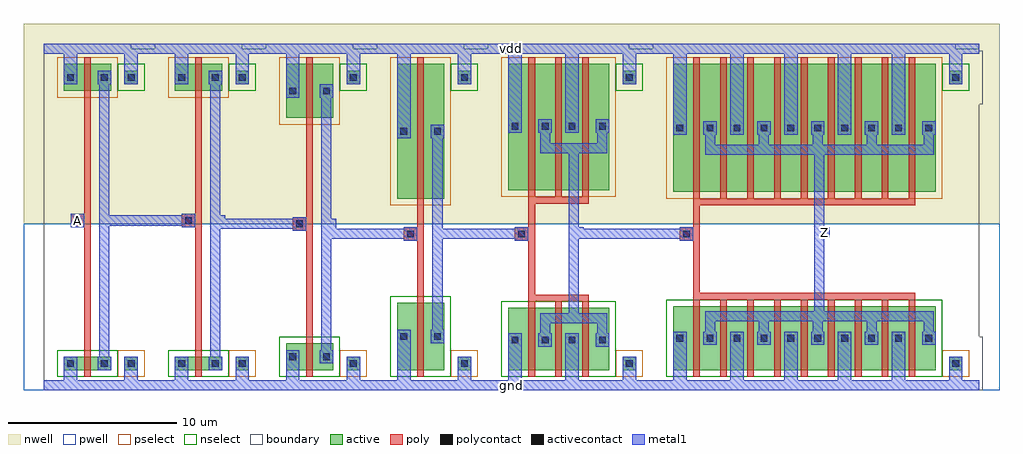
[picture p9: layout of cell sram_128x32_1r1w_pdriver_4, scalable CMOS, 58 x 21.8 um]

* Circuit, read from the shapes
.subckt sram_128x32_1r1w_pdriver_4 A Z gnd vdd
M1 sram_128x32_1r1w_pinv_6_1/A A gnd gnd nfet w=0.8u l=0.4u
M2 sram_128x32_1r1w_pinv_16_2/A sram_128x32_1r1w_pinv_6_1/A gnd gnd nfet w=0.8u l=0.4u
M3 sram_128x32_1r1w_pinv_17_3/A sram_128x32_1r1w_pinv_16_2/A gnd gnd nfet w=1.6u l=0.4u
M4 sram_128x32_1r1w_pinv_18_4/A sram_128x32_1r1w_pinv_17_3/A gnd gnd nfet w=4u l=0.4u
M5 sram_128x32_1r1w_pinv_19_5/A sram_128x32_1r1w_pinv_18_4/A gnd gnd nfet w=3.7u l=0.4u m=3
M6 Z sram_128x32_1r1w_pinv_19_5/A gnd gnd nfet w=3.8u l=0.4u m=9
M7 sram_128x32_1r1w_pinv_6_1/A A vdd vdd pfet w=1.6u l=0.4u
M8 sram_128x32_1r1w_pinv_16_2/A sram_128x32_1r1w_pinv_6_1/A vdd vdd pfet w=1.6u l=0.4u
M9 sram_128x32_1r1w_pinv_17_3/A sram_128x32_1r1w_pinv_16_2/A vdd vdd pfet w=3.2u l=0.4u
M10 sram_128x32_1r1w_pinv_18_4/A sram_128x32_1r1w_pinv_17_3/A vdd vdd pfet w=8u l=0.4u
M11 sram_128x32_1r1w_pinv_19_5/A sram_128x32_1r1w_pinv_18_4/A vdd vdd pfet w=7.5u l=0.4u m=3
M12 Z sram_128x32_1r1w_pinv_19_5/A vdd vdd pfet w=7.6u l=0.4u m=9
.ends

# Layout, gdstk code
import gdstk
lib = gdstk.Library(unit=1e-6, precision=1e-09)
def R(c, l, rs):  # rectangles x0, y0, x1, y1
    for r in rs: c.add(gdstk.rectangle(r[:2], r[2:], *l))
def A(c, l, x, y, w, h, nx, ny, dx, dy):  # array of equal rectangles
    R(c, l, [(x+i*dx, y+j*dy, x+i*dx+w, y+j*dy+h) for i in range(nx) for j in range(ny)])
pwell = (41, 0)
nwell = (42, 0)
active = (43, 0)
pselect = (44, 0)
nselect = (45, 0)
poly = (46, 0)
polycontact = (47, 0)
activecontact = (48, 0)
metal1 = (49, 0)
boundary = (63, 0)

sram_128x32_1r1w_contact = lib.new_cell('sram_128x32_1r1w_contact_11')
R(sram_128x32_1r1w_contact, nwell, [(-1.2,-1.2,2,2)])
R(sram_128x32_1r1w_contact, active, [(0,0,0.8,0.8)])
R(sram_128x32_1r1w_contact, pselect, [(-0.4,-0.4,1.2,1.2)])
R(sram_128x32_1r1w_contact, activecontact, [(0.2,0.2,0.6,0.6)])
R(sram_128x32_1r1w_contact, metal1, [(0,0,0.8,0.8)])
R(sram_128x32_1r1w_contact, boundary, [(-1.2,-1.2,2,2)])

sram_128x32_1r1w_pmos_m1 = lib.new_cell('sram_128x32_1r1w_pmos_m1_w1_600_sm1_dm1_da_p')
R(sram_128x32_1r1w_pmos_m1, nwell, [(-1.2,-1.2,4,2.8)])
R(sram_128x32_1r1w_pmos_m1, active, [(0,0,2.8,1.6)])
R(sram_128x32_1r1w_pmos_m1, pselect, [(-0.4,-0.4,3.2,2)])
R(sram_128x32_1r1w_pmos_m1, poly, [(1.2,-0.4,1.6,2), (1.2,-0.4,1.6,2)])
R(sram_128x32_1r1w_pmos_m1, metal1, [(0,0.4,0.8,1.2), (2,0.4,2.8,1.2)])
R(sram_128x32_1r1w_pmos_m1, boundary, [(-1.2,-1.2,4,2.8)])
sram_128x32_1r1w_pmos_m1.add(gdstk.Reference(sram_128x32_1r1w_contact, (0,0.4)))
sram_128x32_1r1w_pmos_m1.add(gdstk.Reference(sram_128x32_1r1w_contact, (2,0.4)))
sram_128x32_1r1w_pmos_m1.add(gdstk.Label('G', (1.4,0.8), layer=46, texttype=0))
sram_128x32_1r1w_pmos_m1.add(gdstk.Label('S', (0.4,0.8), layer=49, texttype=0))
sram_128x32_1r1w_pmos_m1.add(gdstk.Label('D', (2.4,0.8), layer=49, texttype=0))

c_sram_128x32_1r1w_contact = lib.new_cell('sram_128x32_1r1w_contact_10')
R(c_sram_128x32_1r1w_contact, pwell, [(-1.2,-1.2,2,2)])
R(c_sram_128x32_1r1w_contact, active, [(0,0,0.8,0.8)])
R(c_sram_128x32_1r1w_contact, nselect, [(-0.4,-0.4,1.2,1.2)])
R(c_sram_128x32_1r1w_contact, activecontact, [(0.2,0.2,0.6,0.6)])
R(c_sram_128x32_1r1w_contact, metal1, [(0,0,0.8,0.8)])
R(c_sram_128x32_1r1w_contact, boundary, [(-1.2,-1.2,2,2)])

sram_128x32_1r1w_nmos_m1 = lib.new_cell('sram_128x32_1r1w_nmos_m1_w0_800_sm1_dm1_da_p')
R(sram_128x32_1r1w_nmos_m1, pwell, [(-1.2,-1.2,4,2)])
R(sram_128x32_1r1w_nmos_m1, active, [(0,0,2.8,0.8)])
R(sram_128x32_1r1w_nmos_m1, nselect, [(-0.4,-0.4,3.2,1.2)])
R(sram_128x32_1r1w_nmos_m1, poly, [(1.2,-0.4,1.6,1.2), (1.2,-0.4,1.6,1.2)])
R(sram_128x32_1r1w_nmos_m1, metal1, [(0,0,0.8,0.8), (2,0,2.8,0.8)])
R(sram_128x32_1r1w_nmos_m1, boundary, [(-1.2,-1.2,4,2)])
sram_128x32_1r1w_nmos_m1.add(gdstk.Reference(c_sram_128x32_1r1w_contact, (0,0)))
sram_128x32_1r1w_nmos_m1.add(gdstk.Reference(c_sram_128x32_1r1w_contact, (2,0)))
sram_128x32_1r1w_nmos_m1.add(gdstk.Label('G', (1.4,0.4), layer=46, texttype=0))
sram_128x32_1r1w_nmos_m1.add(gdstk.Label('S', (0.4,0.4), layer=49, texttype=0))
sram_128x32_1r1w_nmos_m1.add(gdstk.Label('D', (2.4,0.4), layer=49, texttype=0))

c_sram_128x32_1r1w_contact_ = lib.new_cell('sram_128x32_1r1w_contact_12')
R(c_sram_128x32_1r1w_contact_, nwell, [(-1.2,-1.2,2,2)])
R(c_sram_128x32_1r1w_contact_, active, [(0,0,0.8,0.8)])
R(c_sram_128x32_1r1w_contact_, nselect, [(-0.4,-0.4,1.2,1.2)])
R(c_sram_128x32_1r1w_contact_, activecontact, [(0.2,0.2,0.6,0.6)])
R(c_sram_128x32_1r1w_contact_, metal1, [(0,0,0.8,0.8)])
R(c_sram_128x32_1r1w_contact_, boundary, [(-1.2,-1.2,2,2)])

c_sram_128x32_1r1w_contact__ = lib.new_cell('sram_128x32_1r1w_contact_13')
R(c_sram_128x32_1r1w_contact__, pwell, [(-1.2,-1.2,2,2)])
R(c_sram_128x32_1r1w_contact__, active, [(0,0,0.8,0.8)])
R(c_sram_128x32_1r1w_contact__, pselect, [(-0.4,-0.4,1.2,1.2)])
R(c_sram_128x32_1r1w_contact__, activecontact, [(0.2,0.2,0.6,0.6)])
R(c_sram_128x32_1r1w_contact__, metal1, [(0,0,0.8,0.8)])
R(c_sram_128x32_1r1w_contact__, boundary, [(-1.2,-1.2,2,2)])

c_sram_128x32_1r1w_contact___ = lib.new_cell('sram_128x32_1r1w_contact_14')
R(c_sram_128x32_1r1w_contact___, poly, [(0,0,0.8,0.8)])
R(c_sram_128x32_1r1w_contact___, polycontact, [(0.2,0.2,0.6,0.6)])
R(c_sram_128x32_1r1w_contact___, metal1, [(0,0,0.8,0.8)])
R(c_sram_128x32_1r1w_contact___, boundary, [(0,0,0.8,0.8)])

sram_128x32_1r1w_pinv_6 = lib.new_cell('sram_128x32_1r1w_pinv_6')
R(sram_128x32_1r1w_pinv_6, pwell, [(-1.2,-0.3,7.8,9.6)])
R(sram_128x32_1r1w_pinv_6, nwell, [(-1.2,9.6,7.8,21.5)])
R(sram_128x32_1r1w_pinv_6, poly, [(2.4,2.1,2.8,17.1), (2,9.4,2.4,10.2)])
R(sram_128x32_1r1w_pinv_6, metal1, [(0,-0.3,6.6,0.3), (1.2,-0.3,2,0.9), (4.8,0,5.6,1.3), (3.3,0.9,3.9,18.7), (1.6,9.4,2.4,10.2), (3.6,9.5,4.2,10.1), (1.2,17.9,2,20.3), (4.8,18.3,5.6,20), (0,19.7,6.6,20.3)])
R(sram_128x32_1r1w_pinv_6, boundary, [(0,0,6.6,20), (0,0,6.6,20)])
sram_128x32_1r1w_pinv_6.add(gdstk.Reference(sram_128x32_1r1w_pmos_m1, (1.2,17.5)))
sram_128x32_1r1w_pinv_6.add(gdstk.Reference(sram_128x32_1r1w_nmos_m1, (1.2,0.9)))
sram_128x32_1r1w_pinv_6.add(gdstk.Reference(c_sram_128x32_1r1w_contact_, (4.8,17.9)))
sram_128x32_1r1w_pinv_6.add(gdstk.Reference(c_sram_128x32_1r1w_contact__, (4.8,0.9)))
sram_128x32_1r1w_pinv_6.add(gdstk.Reference(c_sram_128x32_1r1w_contact___, (1.6,9.4)))
sram_128x32_1r1w_pinv_6.add(gdstk.Label('A', (2,9.8), layer=49, texttype=0))
sram_128x32_1r1w_pinv_6.add(gdstk.Label('Z', (3.9,9.8), layer=49, texttype=0))
sram_128x32_1r1w_pinv_6.add(gdstk.Label('gnd', (3.3,0), layer=49, texttype=0))
sram_128x32_1r1w_pinv_6.add(gdstk.Label('vdd', (3.3,20), layer=49, texttype=0))

c_sram_128x32_1r1w_pmos_m1 = lib.new_cell('sram_128x32_1r1w_pmos_m1_w3_200_sm1_dm1_da_p')
R(c_sram_128x32_1r1w_pmos_m1, nwell, [(-1.2,-1.2,4,4.4)])
R(c_sram_128x32_1r1w_pmos_m1, active, [(0,0,2.8,3.2)])
R(c_sram_128x32_1r1w_pmos_m1, pselect, [(-0.4,-0.4,3.2,3.6)])
R(c_sram_128x32_1r1w_pmos_m1, poly, [(1.2,-0.4,1.6,3.6), (1.2,-0.4,1.6,3.6)])
R(c_sram_128x32_1r1w_pmos_m1, metal1, [(0,1.2,0.8,2), (2,1.2,2.8,2)])
R(c_sram_128x32_1r1w_pmos_m1, boundary, [(-1.2,-1.2,4,4.4)])
c_sram_128x32_1r1w_pmos_m1.add(gdstk.Reference(sram_128x32_1r1w_contact, (0,1.2)))
c_sram_128x32_1r1w_pmos_m1.add(gdstk.Reference(sram_128x32_1r1w_contact, (2,1.2)))
c_sram_128x32_1r1w_pmos_m1.add(gdstk.Label('G', (1.4,1.6), layer=46, texttype=0))
c_sram_128x32_1r1w_pmos_m1.add(gdstk.Label('S', (0.4,1.6), layer=49, texttype=0))
c_sram_128x32_1r1w_pmos_m1.add(gdstk.Label('D', (2.4,1.6), layer=49, texttype=0))

c_sram_128x32_1r1w_nmos_m1 = lib.new_cell('sram_128x32_1r1w_nmos_m1_w1_600_sm1_dm1_da_p')
R(c_sram_128x32_1r1w_nmos_m1, pwell, [(-1.2,-1.2,4,2.8)])
R(c_sram_128x32_1r1w_nmos_m1, active, [(0,0,2.8,1.6)])
R(c_sram_128x32_1r1w_nmos_m1, nselect, [(-0.4,-0.4,3.2,2)])
R(c_sram_128x32_1r1w_nmos_m1, poly, [(1.2,-0.4,1.6,2), (1.2,-0.4,1.6,2)])
R(c_sram_128x32_1r1w_nmos_m1, metal1, [(0,0.4,0.8,1.2), (2,0.4,2.8,1.2)])
R(c_sram_128x32_1r1w_nmos_m1, boundary, [(-1.2,-1.2,4,2.8)])
c_sram_128x32_1r1w_nmos_m1.add(gdstk.Reference(c_sram_128x32_1r1w_contact, (0,0.4)))
c_sram_128x32_1r1w_nmos_m1.add(gdstk.Reference(c_sram_128x32_1r1w_contact, (2,0.4)))
c_sram_128x32_1r1w_nmos_m1.add(gdstk.Label('G', (1.4,0.8), layer=46, texttype=0))
c_sram_128x32_1r1w_nmos_m1.add(gdstk.Label('S', (0.4,0.8), layer=49, texttype=0))
c_sram_128x32_1r1w_nmos_m1.add(gdstk.Label('D', (2.4,0.8), layer=49, texttype=0))

sram_128x32_1r1w_pinv_16 = lib.new_cell('sram_128x32_1r1w_pinv_16')
R(sram_128x32_1r1w_pinv_16, pwell, [(-1.2,-0.3,7.8,9.6)])
R(sram_128x32_1r1w_pinv_16, nwell, [(-1.2,9.6,7.8,21.5)])
R(sram_128x32_1r1w_pinv_16, poly, [(2.4,2.9,2.8,15.5), (2,9.2,2.4,10)])
R(sram_128x32_1r1w_pinv_16, metal1, [(0,-0.3,6.6,0.3), (1.2,-0.3,2,1.3), (4.8,0,5.6,1.3), (3.3,1.3,3.9,17.9), (1.6,9.2,2.4,10), (3.6,9.3,4.2,9.9), (1.2,17.1,2,20.3), (4.8,18.3,5.6,20), (0,19.7,6.6,20.3)])
R(sram_128x32_1r1w_pinv_16, boundary, [(0,0,6.6,20), (0,0,6.6,20)])
sram_128x32_1r1w_pinv_16.add(gdstk.Reference(c_sram_128x32_1r1w_pmos_m1, (1.2,15.9)))
sram_128x32_1r1w_pinv_16.add(gdstk.Reference(c_sram_128x32_1r1w_nmos_m1, (1.2,0.9)))
sram_128x32_1r1w_pinv_16.add(gdstk.Reference(c_sram_128x32_1r1w_contact_, (4.8,17.9)))
sram_128x32_1r1w_pinv_16.add(gdstk.Reference(c_sram_128x32_1r1w_contact__, (4.8,0.9)))
sram_128x32_1r1w_pinv_16.add(gdstk.Reference(c_sram_128x32_1r1w_contact___, (1.6,9.2)))
sram_128x32_1r1w_pinv_16.add(gdstk.Label('A', (2,9.6), layer=49, texttype=0))
sram_128x32_1r1w_pinv_16.add(gdstk.Label('Z', (3.9,9.6), layer=49, texttype=0))
sram_128x32_1r1w_pinv_16.add(gdstk.Label('gnd', (3.3,0), layer=49, texttype=0))
sram_128x32_1r1w_pinv_16.add(gdstk.Label('vdd', (3.3,20), layer=49, texttype=0))

c_sram_128x32_1r1w_pmos_m1_ = lib.new_cell('sram_128x32_1r1w_pmos_m1_w8_000_sm1_dm1_da_p')
R(c_sram_128x32_1r1w_pmos_m1_, nwell, [(-1.2,-1.2,4,9.2)])
R(c_sram_128x32_1r1w_pmos_m1_, active, [(0,0,2.8,8)])
R(c_sram_128x32_1r1w_pmos_m1_, pselect, [(-0.4,-0.4,3.2,8.4)])
R(c_sram_128x32_1r1w_pmos_m1_, poly, [(1.2,-0.4,1.6,8.4), (1.2,-0.4,1.6,8.4)])
R(c_sram_128x32_1r1w_pmos_m1_, metal1, [(0,3.6,0.8,4.4), (2,3.6,2.8,4.4)])
R(c_sram_128x32_1r1w_pmos_m1_, boundary, [(-1.2,-1.2,4,9.2)])
c_sram_128x32_1r1w_pmos_m1_.add(gdstk.Reference(sram_128x32_1r1w_contact, (0,3.6)))
c_sram_128x32_1r1w_pmos_m1_.add(gdstk.Reference(sram_128x32_1r1w_contact, (2,3.6)))
c_sram_128x32_1r1w_pmos_m1_.add(gdstk.Label('G', (1.4,4), layer=46, texttype=0))
c_sram_128x32_1r1w_pmos_m1_.add(gdstk.Label('S', (0.4,4), layer=49, texttype=0))
c_sram_128x32_1r1w_pmos_m1_.add(gdstk.Label('D', (2.4,4), layer=49, texttype=0))

c_sram_128x32_1r1w_nmos_m1_ = lib.new_cell('sram_128x32_1r1w_nmos_m1_w4_000_sm1_dm1_da_p')
R(c_sram_128x32_1r1w_nmos_m1_, pwell, [(-1.2,-1.2,4,5.2)])
R(c_sram_128x32_1r1w_nmos_m1_, active, [(0,0,2.8,4)])
R(c_sram_128x32_1r1w_nmos_m1_, nselect, [(-0.4,-0.4,3.2,4.4)])
R(c_sram_128x32_1r1w_nmos_m1_, poly, [(1.2,-0.4,1.6,4.4), (1.2,-0.4,1.6,4.4)])
R(c_sram_128x32_1r1w_nmos_m1_, metal1, [(0,1.6,0.8,2.4), (2,1.6,2.8,2.4)])
R(c_sram_128x32_1r1w_nmos_m1_, boundary, [(-1.2,-1.2,4,5.2)])
c_sram_128x32_1r1w_nmos_m1_.add(gdstk.Reference(c_sram_128x32_1r1w_contact, (0,1.6)))
c_sram_128x32_1r1w_nmos_m1_.add(gdstk.Reference(c_sram_128x32_1r1w_contact, (2,1.6)))
c_sram_128x32_1r1w_nmos_m1_.add(gdstk.Label('G', (1.4,2), layer=46, texttype=0))
c_sram_128x32_1r1w_nmos_m1_.add(gdstk.Label('S', (0.4,2), layer=49, texttype=0))
c_sram_128x32_1r1w_nmos_m1_.add(gdstk.Label('D', (2.4,2), layer=49, texttype=0))

sram_128x32_1r1w_pinv_17 = lib.new_cell('sram_128x32_1r1w_pinv_17')
R(sram_128x32_1r1w_pinv_17, pwell, [(-1.2,-0.3,7.8,9.6)])
R(sram_128x32_1r1w_pinv_17, nwell, [(-1.2,9.6,7.8,21.5)])
R(sram_128x32_1r1w_pinv_17, poly, [(2.4,5.3,2.8,10.7), (2,8.6,2.4,9.4)])
R(sram_128x32_1r1w_pinv_17, metal1, [(0,-0.3,6.6,0.3), (1.2,-0.3,2,2.5), (4.8,0,5.6,1.3), (3.3,2.5,3.9,15.5), (1.6,8.6,2.4,9.4), (3.6,8.7,4.2,9.3), (1.2,14.7,2,20.3), (4.8,18.3,5.6,20), (0,19.7,6.6,20.3)])
R(sram_128x32_1r1w_pinv_17, boundary, [(0,0,6.6,20), (0,0,6.6,20)])
sram_128x32_1r1w_pinv_17.add(gdstk.Reference(c_sram_128x32_1r1w_pmos_m1_, (1.2,11.1)))
sram_128x32_1r1w_pinv_17.add(gdstk.Reference(c_sram_128x32_1r1w_nmos_m1_, (1.2,0.9)))
sram_128x32_1r1w_pinv_17.add(gdstk.Reference(c_sram_128x32_1r1w_contact_, (4.8,17.9)))
sram_128x32_1r1w_pinv_17.add(gdstk.Reference(c_sram_128x32_1r1w_contact__, (4.8,0.9)))
sram_128x32_1r1w_pinv_17.add(gdstk.Reference(c_sram_128x32_1r1w_contact___, (1.6,8.6)))
sram_128x32_1r1w_pinv_17.add(gdstk.Label('A', (2,9), layer=49, texttype=0))
sram_128x32_1r1w_pinv_17.add(gdstk.Label('Z', (3.9,9), layer=49, texttype=0))
sram_128x32_1r1w_pinv_17.add(gdstk.Label('gnd', (3.3,0), layer=49, texttype=0))
sram_128x32_1r1w_pinv_17.add(gdstk.Label('vdd', (3.3,20), layer=49, texttype=0))

sram_128x32_1r1w_pmos_m3 = lib.new_cell('sram_128x32_1r1w_pmos_m3_w7_500_sm1_dm1_da_p')
R(sram_128x32_1r1w_pmos_m3, nwell, [(-1.2,-1.2,7.2,8.7)])
R(sram_128x32_1r1w_pmos_m3, active, [(0,0,6,7.5)])
R(sram_128x32_1r1w_pmos_m3, pselect, [(-0.4,-0.4,6.4,7.9)])
A(sram_128x32_1r1w_pmos_m3, poly, 1.2, -0.4, 0.4, 8.3, 3, 1, 1.6, 0)
R(sram_128x32_1r1w_pmos_m3, poly, [(1.2,-0.8,4.8,-0.4)])
R(sram_128x32_1r1w_pmos_m3, metal1, [(1.9,2.2,5.9,2.8), (1.9,2.4,2.5,3.8), (5.3,2.4,5.9,3.8), (0,3.4,0.8,4.2), (3.4,3.4,4.2,4.2)])
R(sram_128x32_1r1w_pmos_m3, boundary, [(-1.2,-1.2,7.2,8.7)])
sram_128x32_1r1w_pmos_m3.add(gdstk.Reference(sram_128x32_1r1w_contact, (0,3.4)))
sram_128x32_1r1w_pmos_m3.add(gdstk.Reference(sram_128x32_1r1w_contact, (1.8,3.4)))
sram_128x32_1r1w_pmos_m3.add(gdstk.Reference(sram_128x32_1r1w_contact, (3.4,3.4)))
sram_128x32_1r1w_pmos_m3.add(gdstk.Reference(sram_128x32_1r1w_contact, (5.2,3.4)))
sram_128x32_1r1w_pmos_m3.add(gdstk.Label('G', (3,-0.6), layer=46, texttype=0))
sram_128x32_1r1w_pmos_m3.add(gdstk.Label('S', (0.4,3.8), layer=49, texttype=0))
sram_128x32_1r1w_pmos_m3.add(gdstk.Label('S', (3.8,3.8), layer=49, texttype=0))
sram_128x32_1r1w_pmos_m3.add(gdstk.Label('D', (3.9,2.5), layer=49, texttype=0))

sram_128x32_1r1w_nmos_m3 = lib.new_cell('sram_128x32_1r1w_nmos_m3_w3_700_sm1_dm1_da_p')
R(sram_128x32_1r1w_nmos_m3, pwell, [(-1.2,-1.2,7.2,4.9)])
R(sram_128x32_1r1w_nmos_m3, active, [(0,0,6,3.7)])
R(sram_128x32_1r1w_nmos_m3, nselect, [(-0.4,-0.4,6.4,4.1)])
A(sram_128x32_1r1w_nmos_m3, poly, 1.2, -0.4, 0.4, 4.5, 3, 1, 1.6, 0)
R(sram_128x32_1r1w_nmos_m3, poly, [(1.2,4.1,4.8,4.5)])
R(sram_128x32_1r1w_nmos_m3, metal1, [(0,1.4,0.8,2.2), (3.4,1.4,4.2,2.2), (1.9,1.8,2.5,3.2), (5.3,1.8,5.9,3.2), (1.9,2.8,5.9,3.4)])
R(sram_128x32_1r1w_nmos_m3, boundary, [(-1.2,-1.2,7.2,4.9)])
sram_128x32_1r1w_nmos_m3.add(gdstk.Reference(c_sram_128x32_1r1w_contact, (0,1.4)))
sram_128x32_1r1w_nmos_m3.add(gdstk.Reference(c_sram_128x32_1r1w_contact, (1.8,1.4)))
sram_128x32_1r1w_nmos_m3.add(gdstk.Reference(c_sram_128x32_1r1w_contact, (3.4,1.4)))
sram_128x32_1r1w_nmos_m3.add(gdstk.Reference(c_sram_128x32_1r1w_contact, (5.2,1.4)))
sram_128x32_1r1w_nmos_m3.add(gdstk.Label('G', (3,4.3), layer=46, texttype=0))
sram_128x32_1r1w_nmos_m3.add(gdstk.Label('S', (3.8,1.8), layer=49, texttype=0))
sram_128x32_1r1w_nmos_m3.add(gdstk.Label('S', (0.4,1.8), layer=49, texttype=0))
sram_128x32_1r1w_nmos_m3.add(gdstk.Label('D', (3.9,3.1), layer=49, texttype=0))

sram_128x32_1r1w_pinv_18 = lib.new_cell('sram_128x32_1r1w_pinv_18')
R(sram_128x32_1r1w_pinv_18, pwell, [(-1.2,-0.3,11,9.6)])
R(sram_128x32_1r1w_pinv_18, nwell, [(-1.2,9.6,11,21.5)])
R(sram_128x32_1r1w_pinv_18, poly, [(2.4,5.4,2.8,10.8), (2,8.6,2.4,9.4)])
R(sram_128x32_1r1w_pinv_18, metal1, [(0,-0.3,9.8,0.3), (1.2,-0.3,2,2.3), (4.6,-0.3,5.4,2.3), (8,0,8.8,1.3), (4.8,3.7,5.4,14.4), (1.6,8.6,2.4,9.4), (5.1,8.8,5.7,9.4), (1.2,15,2,20.3), (4.6,15,5.4,20.3), (8,18.3,8.8,20), (0,19.7,9.8,20.3)])
R(sram_128x32_1r1w_pinv_18, boundary, [(0,0,9.8,20), (0,0,9.8,20)])
sram_128x32_1r1w_pinv_18.add(gdstk.Reference(sram_128x32_1r1w_pmos_m3, (1.2,11.6)))
sram_128x32_1r1w_pinv_18.add(gdstk.Reference(sram_128x32_1r1w_nmos_m3, (1.2,0.9)))
sram_128x32_1r1w_pinv_18.add(gdstk.Reference(c_sram_128x32_1r1w_contact_, (8,17.9)))
sram_128x32_1r1w_pinv_18.add(gdstk.Reference(c_sram_128x32_1r1w_contact__, (8,0.9)))
sram_128x32_1r1w_pinv_18.add(gdstk.Reference(c_sram_128x32_1r1w_contact___, (1.6,8.6)))
sram_128x32_1r1w_pinv_18.add(gdstk.Label('A', (2,9), layer=49, texttype=0))
sram_128x32_1r1w_pinv_18.add(gdstk.Label('Z', (5.4,9.1), layer=49, texttype=0))
sram_128x32_1r1w_pinv_18.add(gdstk.Label('gnd', (4.9,0), layer=49, texttype=0))
sram_128x32_1r1w_pinv_18.add(gdstk.Label('vdd', (4.9,20), layer=49, texttype=0))

sram_128x32_1r1w_pmos_m9 = lib.new_cell('sram_128x32_1r1w_pmos_m9_w7_600_sm1_dm1_da_p')
R(sram_128x32_1r1w_pmos_m9, nwell, [(-1.2,-1.2,16.8,8.8)])
R(sram_128x32_1r1w_pmos_m9, active, [(0,0,15.6,7.6)])
R(sram_128x32_1r1w_pmos_m9, pselect, [(-0.4,-0.4,16,8)])
A(sram_128x32_1r1w_pmos_m9, poly, 1.2, -0.4, 0.4, 8.4, 9, 1, 1.6, 0)
R(sram_128x32_1r1w_pmos_m9, poly, [(1.2,-0.8,14.4,-0.4)])
A(sram_128x32_1r1w_pmos_m9, metal1, 1.9, 2.5, 0.6, 1.3, 4, 1, 3.2, 0)
A(sram_128x32_1r1w_pmos_m9, metal1, 3.4, 3.4, 0.8, 0.8, 4, 1, 3.2, 0)
R(sram_128x32_1r1w_pmos_m9, metal1, [(1.9,2.2,15.5,2.8), (14.9,2.5,15.5,3.8), (0,3.4,0.8,4.2)])
R(sram_128x32_1r1w_pmos_m9, boundary, [(-1.2,-1.2,16.8,8.8)])
sram_128x32_1r1w_pmos_m9.add(gdstk.Reference(sram_128x32_1r1w_contact, (0,3.4)))
sram_128x32_1r1w_pmos_m9.add(gdstk.Reference(sram_128x32_1r1w_contact, (1.8,3.4)))
sram_128x32_1r1w_pmos_m9.add(gdstk.Reference(sram_128x32_1r1w_contact, (3.4,3.4)))
sram_128x32_1r1w_pmos_m9.add(gdstk.Reference(sram_128x32_1r1w_contact, (5,3.4)))
sram_128x32_1r1w_pmos_m9.add(gdstk.Reference(sram_128x32_1r1w_contact, (6.6,3.4)))
sram_128x32_1r1w_pmos_m9.add(gdstk.Reference(sram_128x32_1r1w_contact, (8.2,3.4)))
sram_128x32_1r1w_pmos_m9.add(gdstk.Reference(sram_128x32_1r1w_contact, (9.8,3.4)))
sram_128x32_1r1w_pmos_m9.add(gdstk.Reference(sram_128x32_1r1w_contact, (11.4,3.4)))
sram_128x32_1r1w_pmos_m9.add(gdstk.Reference(sram_128x32_1r1w_contact, (13,3.4)))
sram_128x32_1r1w_pmos_m9.add(gdstk.Reference(sram_128x32_1r1w_contact, (14.8,3.4)))
sram_128x32_1r1w_pmos_m9.add(gdstk.Label('G', (7.8,-0.6), layer=46, texttype=0))
sram_128x32_1r1w_pmos_m9.add(gdstk.Label('S', (0.4,3.8), layer=49, texttype=0))
sram_128x32_1r1w_pmos_m9.add(gdstk.Label('S', (3.8,3.8), layer=49, texttype=0))
sram_128x32_1r1w_pmos_m9.add(gdstk.Label('S', (10.2,3.8), layer=49, texttype=0))
sram_128x32_1r1w_pmos_m9.add(gdstk.Label('S', (13.4,3.8), layer=49, texttype=0))
sram_128x32_1r1w_pmos_m9.add(gdstk.Label('S', (7,3.8), layer=49, texttype=0))
sram_128x32_1r1w_pmos_m9.add(gdstk.Label('D', (8.7,2.5), layer=49, texttype=0))

sram_128x32_1r1w_nmos_m9 = lib.new_cell('sram_128x32_1r1w_nmos_m9_w3_800_sm1_dm1_da_p')
R(sram_128x32_1r1w_nmos_m9, pwell, [(-1.2,-1.2,16.8,5)])
R(sram_128x32_1r1w_nmos_m9, active, [(0,0,15.6,3.8)])
R(sram_128x32_1r1w_nmos_m9, nselect, [(-0.4,-0.4,16,4.2)])
A(sram_128x32_1r1w_nmos_m9, poly, 1.2, -0.4, 0.4, 4.6, 9, 1, 1.6, 0)
R(sram_128x32_1r1w_nmos_m9, poly, [(1.2,4.2,14.4,4.6)])
A(sram_128x32_1r1w_nmos_m9, metal1, 3.4, 1.5, 0.8, 0.8, 4, 1, 3.2, 0)
A(sram_128x32_1r1w_nmos_m9, metal1, 1.9, 1.9, 0.6, 1.3, 4, 1, 3.2, 0)
R(sram_128x32_1r1w_nmos_m9, metal1, [(0,1.5,0.8,2.3), (14.9,1.9,15.5,3.2), (1.9,2.9,15.5,3.5)])
R(sram_128x32_1r1w_nmos_m9, boundary, [(-1.2,-1.2,16.8,5)])
sram_128x32_1r1w_nmos_m9.add(gdstk.Reference(c_sram_128x32_1r1w_contact, (0,1.5)))
sram_128x32_1r1w_nmos_m9.add(gdstk.Reference(c_sram_128x32_1r1w_contact, (1.8,1.5)))
sram_128x32_1r1w_nmos_m9.add(gdstk.Reference(c_sram_128x32_1r1w_contact, (3.4,1.5)))
sram_128x32_1r1w_nmos_m9.add(gdstk.Reference(c_sram_128x32_1r1w_contact, (5,1.5)))
sram_128x32_1r1w_nmos_m9.add(gdstk.Reference(c_sram_128x32_1r1w_contact, (6.6,1.5)))
sram_128x32_1r1w_nmos_m9.add(gdstk.Reference(c_sram_128x32_1r1w_contact, (8.2,1.5)))
sram_128x32_1r1w_nmos_m9.add(gdstk.Reference(c_sram_128x32_1r1w_contact, (9.8,1.5)))
sram_128x32_1r1w_nmos_m9.add(gdstk.Reference(c_sram_128x32_1r1w_contact, (11.4,1.5)))
sram_128x32_1r1w_nmos_m9.add(gdstk.Reference(c_sram_128x32_1r1w_contact, (13,1.5)))
sram_128x32_1r1w_nmos_m9.add(gdstk.Reference(c_sram_128x32_1r1w_contact, (14.8,1.5)))
sram_128x32_1r1w_nmos_m9.add(gdstk.Label('G', (7.8,4.4), layer=46, texttype=0))
sram_128x32_1r1w_nmos_m9.add(gdstk.Label('S', (3.8,1.9), layer=49, texttype=0))
sram_128x32_1r1w_nmos_m9.add(gdstk.Label('S', (0.4,1.9), layer=49, texttype=0))
sram_128x32_1r1w_nmos_m9.add(gdstk.Label('S', (7,1.9), layer=49, texttype=0))
sram_128x32_1r1w_nmos_m9.add(gdstk.Label('S', (10.2,1.9), layer=49, texttype=0))
sram_128x32_1r1w_nmos_m9.add(gdstk.Label('S', (13.4,1.9), layer=49, texttype=0))
sram_128x32_1r1w_nmos_m9.add(gdstk.Label('D', (8.7,3.2), layer=49, texttype=0))

sram_128x32_1r1w_pinv_19 = lib.new_cell('sram_128x32_1r1w_pinv_19')
R(sram_128x32_1r1w_pinv_19, pwell, [(-1.2,-0.3,20.6,9.6)])
R(sram_128x32_1r1w_pinv_19, nwell, [(-1.2,9.6,20.6,21.5)])
R(sram_128x32_1r1w_pinv_19, poly, [(2.4,5.5,2.8,10.7), (2,8.6,2.4,9.4)])
A(sram_128x32_1r1w_pinv_19, metal1, 4.6, -0.3, 0.8, 2.7, 4, 1, 3.2, 0)
A(sram_128x32_1r1w_pinv_19, metal1, 4.6, 14.9, 0.8, 5.4, 4, 1, 3.2, 0)
R(sram_128x32_1r1w_pinv_19, metal1, [(0,-0.3,19.4,0.3), (1.2,-0.3,2,2.4), (17.6,0,18.4,1.3), (9.6,3.8,10.2,14.3), (1.6,8.6,2.4,9.4), (9.9,8.8,10.5,9.4), (1.2,14.9,2,20.3), (17.6,18.3,18.4,20), (0,19.7,19.4,20.3)])
R(sram_128x32_1r1w_pinv_19, boundary, [(0,0,19.4,20), (0,0,19.4,20)])
sram_128x32_1r1w_pinv_19.add(gdstk.Reference(sram_128x32_1r1w_pmos_m9, (1.2,11.5)))
sram_128x32_1r1w_pinv_19.add(gdstk.Reference(sram_128x32_1r1w_nmos_m9, (1.2,0.9)))
sram_128x32_1r1w_pinv_19.add(gdstk.Reference(c_sram_128x32_1r1w_contact_, (17.6,17.9)))
sram_128x32_1r1w_pinv_19.add(gdstk.Reference(c_sram_128x32_1r1w_contact__, (17.6,0.9)))
sram_128x32_1r1w_pinv_19.add(gdstk.Reference(c_sram_128x32_1r1w_contact___, (1.6,8.6)))
sram_128x32_1r1w_pinv_19.add(gdstk.Label('A', (2,9), layer=49, texttype=0))
sram_128x32_1r1w_pinv_19.add(gdstk.Label('Z', (10.2,9.1), layer=49, texttype=0))
sram_128x32_1r1w_pinv_19.add(gdstk.Label('gnd', (9.7,0), layer=49, texttype=0))
sram_128x32_1r1w_pinv_19.add(gdstk.Label('vdd', (9.7,20), layer=49, texttype=0))

sram_128x32_1r1w_pdriver = lib.new_cell('sram_128x32_1r1w_pdriver_4')
R(sram_128x32_1r1w_pdriver, pwell, [(-1.2,-0.3,56.8,9.6)])
R(sram_128x32_1r1w_pdriver, nwell, [(-1.2,9.6,56.8,21.5)])
R(sram_128x32_1r1w_pdriver, metal1, [(0,-0.3,55.6,0.3), (16.8,8.7,17.4,9.3), (17.1,8.7,21.8,9.3), (23.7,8.7,28.4,9.3), (31.5,8.7,32.1,9.3), (31.8,8.7,38.2,9.3), (46.1,8.8,46.7,9.4), (16.8,9,17.4,9.6), (31.5,9,32.1,9.1), (10.2,9.3,10.8,9.9), (10.5,9.3,15.2,9.9), (1.6,9.4,2.4,10.2), (3.9,9.5,8.6,10.1), (10.2,9.6,10.8,9.8), (0,19.7,55.6,20.3)])
R(sram_128x32_1r1w_pdriver, boundary, [(0,0,55.6,20), (0,0,55.6,20)])
sram_128x32_1r1w_pdriver.add(gdstk.Reference(sram_128x32_1r1w_pinv_6, (0,0)))
sram_128x32_1r1w_pdriver.add(gdstk.Reference(sram_128x32_1r1w_pinv_6, (6.6,0)))
sram_128x32_1r1w_pdriver.add(gdstk.Reference(sram_128x32_1r1w_pinv_16, (13.2,0)))
sram_128x32_1r1w_pdriver.add(gdstk.Reference(sram_128x32_1r1w_pinv_17, (19.8,0)))
sram_128x32_1r1w_pdriver.add(gdstk.Reference(sram_128x32_1r1w_pinv_18, (26.4,0)))
sram_128x32_1r1w_pdriver.add(gdstk.Reference(sram_128x32_1r1w_pinv_19, (36.2,0)))
sram_128x32_1r1w_pdriver.add(gdstk.Label('Z', (46.4,9.1), layer=49, texttype=0))
sram_128x32_1r1w_pdriver.add(gdstk.Label('A', (2,9.8), layer=49, texttype=0))
sram_128x32_1r1w_pdriver.add(gdstk.Label('gnd', (27.8,0), layer=49, texttype=0))
sram_128x32_1r1w_pdriver.add(gdstk.Label('vdd', (27.8,20), layer=49, texttype=0))

lib.write_gds('sram_128x32_1r1w_pdriver_4.gds')
